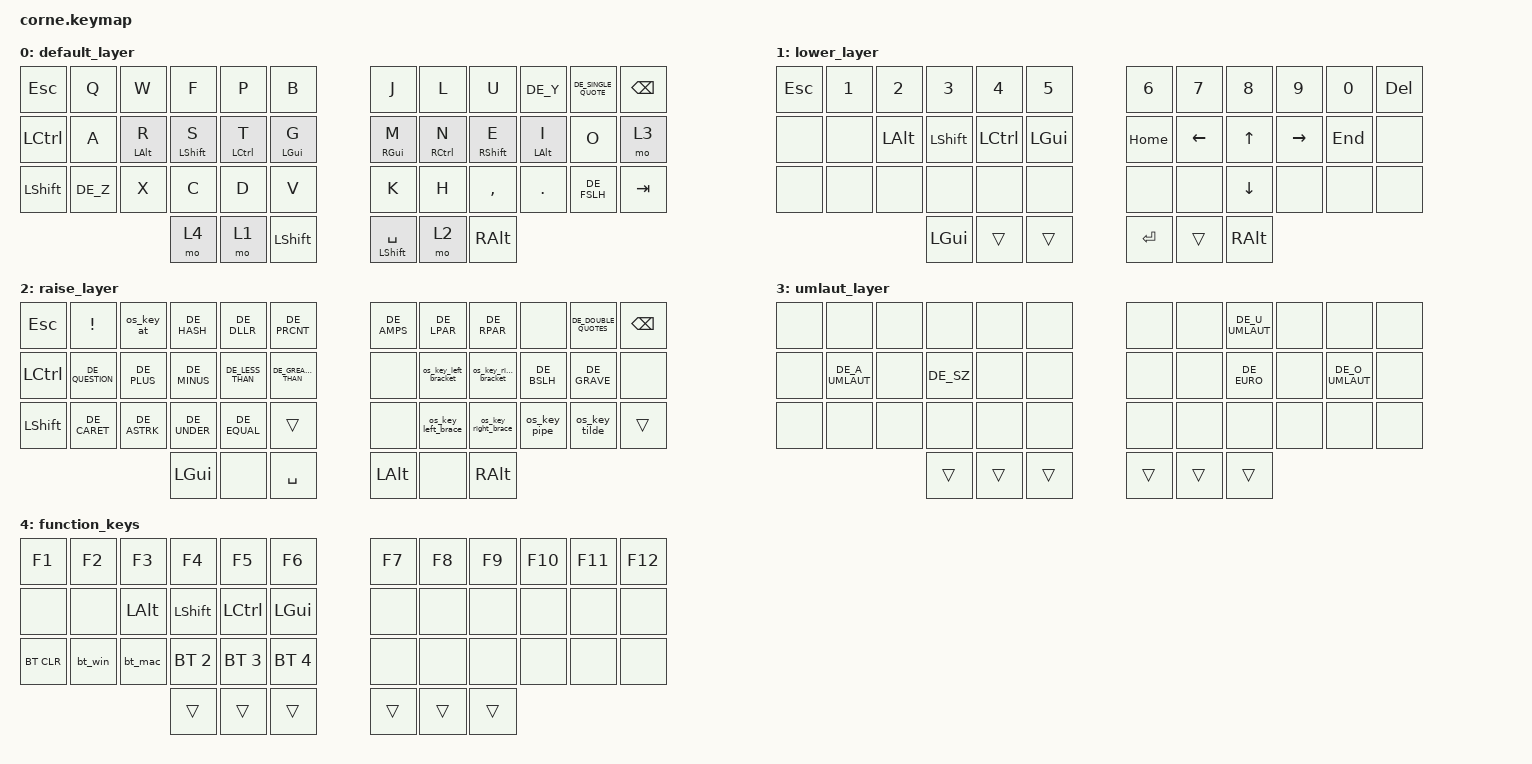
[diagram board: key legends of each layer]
/*
 * Copyright (c) 2026 Jens Neuhalfen
 * Copyrightked from  (c) 2020 The ZMK Contributors
 *
 * SPDX-License-Identifier: MIT
 */

#include <behaviors.dtsi>
#include <dt-bindings/zmk/keys.h>
#include <dt-bindings/zmk/bt.h>
#include <dt-bindings/zmk/oskey.h>
#include <behaviors/oskey.dtsi>
#include <behaviors/oskey.dtsi>
#include "locale/keys_de.h"
#include "keypos_def/corne.dtsi"

#define DE_MAC_AT            RA(L)

/* [ and ] */
#define DE_MAC_LEFT_BRACKET  RA(DE_N5)
#define DE_MAC_RIGHT_BRACKET RA(DE_N6)

/* { and } */
#define DE_MAC_LEFT_BRACE    RA(DE_N8)
#define DE_MAC_RIGHT_BRACE   RA(DE_N9)


/* pipe "|" */
#define DE_MAC_PIPE          RA(DE_N7)

/* tilde ~ */
#define DE_MAC_TILDE         RA(DE_N)


/ {


    behaviors {
        /* https://github.com/mentaldesk/oskey/tree/main#built-in-common-behaviors */
   /* AT sign on German Mac and Win */
        os_key_at: os_key_at {
            compatible= "zmk,behavior-os-key";
            #binding-cells = <0>;
            /*          Win          Mac         Lin  */
            bindings = <&kp DE_AT>, <&kp DE_MAC_AT>, <&kp DE_AT>;
        };

   /* [ and  ] */
        os_key_left_bracket: os_key_left_bracket {
            compatible= "zmk,behavior-os-key";
            #binding-cells = <0>;
            /*          Win          Mac         Lin  */
            bindings = <&kp DE_LEFT_BRACKET>, <&kp DE_MAC_LEFT_BRACKET>, <&kp DE_LEFT_BRACKET>;
        };

        os_key_right_bracket: os_key_right_bracket {
            compatible= "zmk,behavior-os-key";
            #binding-cells = <0>;
            /*          Win          Mac         Lin  */
            bindings = <&kp DE_RIGHT_BRACKET>, <&kp DE_MAC_RIGHT_BRACKET>, <&kp DE_RIGHT_BRACKET>;
        };


   /* { and  } */
        os_key_left_brace: os_key_left_brace {
            compatible= "zmk,behavior-os-key";
            #binding-cells = <0>;
            /*          Win          Mac         Lin  */
            bindings = <&kp DE_LEFT_BRACE>, <&kp DE_MAC_LEFT_BRACE>, <&kp DE_LEFT_BRACE>;
        };

        os_key_right_brace: os_key_right_brace {
            compatible= "zmk,behavior-os-key";
            #binding-cells = <0>;
            /*          Win          Mac         Lin  */
            bindings = <&kp DE_RIGHT_BRACE>, <&kp DE_MAC_RIGHT_BRACE>, <&kp DE_RIGHT_BRACE>;
        };
        
/* pipe "|" */
        os_key_pipe: os_key_pipe {
            compatible= "zmk,behavior-os-key";
            #binding-cells = <0>;
            /*          Win          Mac         Lin  */
            bindings = <&kp DE_PIPE>, <&kp DE_MAC_PIPE>, <&kp DE_PIPE>;
        };


/* tilde ~ */
        os_key_tilde: os_key_tilde {
            compatible= "zmk,behavior-os-key";
            #binding-cells = <0>;
            /*          Win          Mac         Lin  */
            bindings = <&kp DE_TILDE>, <&kp DE_MAC_TILDE>, <&kp DE_TILDE>;
        };
        
/* home row mods*/
        hml: home_row_mod_left {
            compatible = "zmk,behavior-hold-tap";
            #binding-cells = <2>;
            flavor = "balanced";
            require-prior-idle-ms = <150>;
            tapping-term-ms = <280>;
            quick-tap-ms = <175>;
            bindings = <&kp>, <&kp>;
            hold-trigger-key-positions = < KEYS_R >; // List of keys on the right side of the keyboard
            hold-trigger-on-release;
        };
        hmr: home_row_mod_right {
            compatible = "zmk,behavior-hold-tap";
            #binding-cells = <2>;
            flavor = "balanced";
            require-prior-idle-ms = <150>;
            tapping-term-ms = <280>;
            quick-tap-ms = <175>;
            bindings = <&kp>, <&kp>;
            hold-trigger-key-positions = < KEYS_L >; // List of keys on the left side of the keyboard
            hold-trigger-on-release;
        };

    };
    
    macros {
        bt_win: bt_win {
            compatible = "zmk,behavior-macro";
            #binding-cells = <0>;
            bindings = <&bt BT_SEL 0>, <&os_sel OS_WIN>;
        };

        bt_mac: bt_mac {
            compatible = "zmk,behavior-macro";
            #binding-cells = <0>;
            bindings = <&bt BT_SEL 1>, <&os_sel OS_MAC>;
        };

        bt_lin: bt_lin {
            compatible = "zmk,behavior-macro";
            #binding-cells = <0>;
            bindings = <&bt BT_SEL 2>, <&os_sel OS_LIN>;
        };
    };
    
        keymap {
                compatible = "zmk,keymap";

                default_layer {
// -----------------------------------------------------------------------------------------
// |  ESC |  Q  |  W  |  F  |  P  |  B  |   |  J  |  L   |  U  |  Y  |  ;  | BSPC |
// | CTRL |  A  |  R  |  S  |  T  |  G  |   |  M  |  N   |  E  |  I  |  O  | UML  |
// | SHFT |  Z  |  X  |  C  |  D  |  V  |   |  K  |  H   |  ,  |  .  |  /  | TAB  |
//                    | FUN | LWR | SPC |   | ENT | RSE  | ALT |

                        bindings = <
                        
   &kp ESC   &kp Q    &kp W       &kp F        &kp P         &kp B               &kp J       &kp L          &kp U          &kp DE_Y    &kp DE_SINGLE_QUOTE &kp BSPC
   &kp LCTRL &kp A    &hml LALT R &hml LSHFT S &hml LCTRL T  &hml LGUI  G        &hmr RGUI M &hmr RCTRL N   &hmr RSHIFT E  &hmr LALT I &kp O               &mo 3
   &kp LSHFT &kp DE_Z &kp X       &kp C        &kp D         &kp V               &kp K       &kp H          &kp COMMA      &kp DOT     &kp DE_FSLH         &kp TAB
                  &mo 4 &mo 1 &kp LSHIFT                                                   &hmr LSHIFT SPACE &mo 2 &kp RALT
                        >;
                };

                lower_layer {
// -----------------------------------------------------------------------------------------
// |  ESC |  1  |  2  |  3  |  4  |  5  |   |  6  |  7  |  8  |  9  |  0  | BSPC |
// |      |     | LALT| SHFT| CTRL| LGUI|   |HOME | LFT | DWN |  UP | RGT | END  |      
// |      |     |     |     |     |     |   |     |      |     |     |     |      |
//                    | GUI |     | SPC |   | ENT |     | ALT |
                        bindings = <
   &kp ESC    &kp N1    &kp N2      &kp N3       &kp N4       &kp N5                &kp N6   &kp N7   &kp N8    &kp N9    &kp N0    &kp DEL
   &none      &none     &kp LALT    &kp LSHFT    &kp LCTRL    &kp LGUI              &kp HOME &kp LEFT &kp UP    &kp RIGHT &kp END   &none
   &none      &none     &none       &none        &none        &none                 &none    &none    &kp DOWN  &none     &none     &none
                                    &kp LGUI     &trans       &trans                         &kp RET  &trans   &kp RALT
                        >;
                };

                raise_layer {
// -----------------------------------------------------------------------------------------
// |  ESC |  !  |  @  |  #  |  $  |  %  |   |  &  |  (  |  )  |     |     | BSPC |
// | CTRL |  ?  |  +  |  -  |  <  |  >  |   |     |  [  |  ]  |  \  |  `  |      |
// | SHFT |  ^  |  *  |  _  |  =  |     |   |     |  {  |  }  | "|" |  ~  |      |
//                    | GUI |     | SPC |   | ENT |     | ALT |

                      bindings = <
   &kp ESC   &kp EXCL        &os_key_at   &kp DE_HASH  &kp DE_DLLR      &kp DE_PRCNT                  &kp DE_AMPS &kp DE_LPAR          &kp DE_RPAR           &none        &kp DE_DOUBLE_QUOTES   &kp BSPC
   &kp LCTRL &kp DE_QUESTION &kp DE_PLUS  &kp DE_MINUS &kp DE_LESS_THAN &kp DE_GREATER_THAN           &none      &os_key_left_bracket &os_key_right_bracket &kp DE_BSLH   &kp DE_GRAVE           &none
   &kp LSHFT &kp DE_CARET    &kp DE_ASTRK &kp DE_UNDER &kp DE_EQUAL     &trans                        &none      &os_key_left_brace   &os_key_right_brace   &os_key_pipe  &os_key_tilde          &trans
                             &kp LGUI &none   &kp SPACE                                                 &kp LALT     &none    &kp RALT

                        >;
                };

                umlaut_layer {
// -----------------------------------------------------------------------------------------
// |      |     |     |     |     |     |   |     |      |  ü  |     |     |      |
// |      |  ä  |     |  ß  |     |     |   |     |      |  €  |     |  ö  |      |
// |      |     |     |     |     |     |   |     |      |     |     |     |      |
//                    |     |     |     |   |     |      |     |
                        bindings = <
                        
   &none &none          &none &none    &none &none      &none &none &kp DE_U_UMLAUT &none &none          &none
   &none &kp DE_A_UMLAUT &none &kp DE_SZ &none &none      &none &none &kp DE_EURO     &none &kp DE_O_UMLAUT &none
   &none &none          &none &none    &none &none      &none &none &none          &none &none          &none
                  &trans &trans &trans                        &trans &trans &trans
                        >;
                };


                function_keys {
// -----------------------------------------------------------------------------------------
// |      |     |     |     |     |     |   |     |      |     |     |     |      |
// |      |     |     |     |     |     |   |     |      |     |     |     |      |
// | BTCLR| BT1 | BT2 | BT3 | BT4 | BT5 |   |     |     |     |     |     |      |

                        bindings = <
   &kp F1     &kp F2       &kp F3     &kp F4       &kp F5       &kp F6            &kp F7   &kp F8   &kp F9   &kp F10  &kp F11  &kp F12
   &none      &none        &kp LALT   &kp LSHFT    &kp LCTRL    &kp LGUI          &none    &none    &none    &none    &none    &none
   &bt BT_CLR &bt_win      &bt_mac    &bt BT_SEL 2 &bt BT_SEL 3 &bt BT_SEL 4      &none    &none    &none    &none    &none    &none
                  &trans &trans &trans                                                        &trans &trans &trans
                        >;
                };

                
        };
        

};




